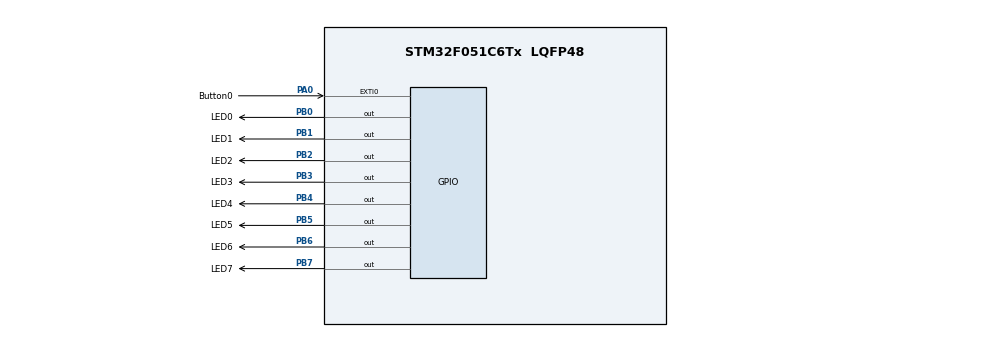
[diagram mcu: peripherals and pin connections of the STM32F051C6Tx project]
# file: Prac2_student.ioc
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Mcu.Family=STM32F0
Mcu.Name=STM32F051C6Tx
Mcu.Package=LQFP48
PA0.GPIO_Label=Button0
PA0.GPIO_PuPd=GPIO_PULLUP
PA0.Signal=GPXTI0
PA13.Mode=Serial_Wire
PA13.Signal=SYS_SWDIO
PA14.Mode=Serial_Wire
PA14.Signal=SYS_SWCLK
PB0.GPIO_Label=LED0
PB0.Signal=GPIO_Output
PB1.GPIO_Label=LED1
PB1.Signal=GPIO_Output
PB2.GPIO_Label=LED2
PB2.Signal=GPIO_Output
PB3.GPIO_Label=LED3
PB3.Signal=GPIO_Output
PB4.GPIO_Label=LED4
PB4.Signal=GPIO_Output
PB5.GPIO_Label=LED5
PB5.Signal=GPIO_Output
PB6.GPIO_Label=LED6
PB6.Signal=GPIO_Output
PB7.GPIO_Label=LED7
PB7.Signal=GPIO_Output
PF0-OSC_IN.Mode=HSE-External-Oscillator
PF0-OSC_IN.Signal=RCC_OSC_IN
PF1-OSC_OUT.Mode=HSE-External-Oscillator
PF1-OSC_OUT.Signal=RCC_OSC_OUT
ProjectManager.HeapSize=0x200
ProjectManager.StackSize=0x400
ProjectManager.TargetToolchain=STM32CubeIDE
TIM16.AutoReloadPreload=TIM_AUTORELOAD_PRELOAD_ENABLE
TIM16.Period=1000-1
TIM16.Prescaler=8000-1
VP_TIM16_VS_ClockSourceINT.Mode=Enable_Timer
board=custom

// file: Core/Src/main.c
/* USER CODE BEGIN Header */
/**
  ******************************************************************************
  * @file           : main.c
  * @brief          : Main program body
  ******************************************************************************
  * @attention
  *
  * Copyright (c) 2023 STMicroelectronics.
  * All rights reserved.
  *
  * This software is licensed under terms that can be found in the LICENSE file
  * in the root directory of this software component.
  * If no LICENSE file comes with this software, it is provided AS-IS.
  *
  ******************************************************************************
  */
/* USER CODE END Header */
#include "main.h"

/* USER CODE BEGIN Includes */
#include <stdint.h>
#include "stm32f0xx.h"
/* USER CODE END Includes */

/* USER CODE BEGIN PD */

// Definitions for SPI usage
#define MEM_SIZE 8192 // bytes
#define WREN 0b00000110 // enable writing
#define WRDI 0b00000100 // disable writing
#define RDSR 0b00000101 // read status register
#define WRSR 0b00000001 // write status register
#define READ 0b00000011
#define WRITE 0b00000010
/* USER CODE END PD */

TIM_HandleTypeDef htim16;

/* USER CODE BEGIN PV */
// TODO: Define any input variables
static uint8_t patterns[] = {
		0b10101010,
		0b01010101,
		0b11001100,
		0b00110011,
		0b11110000,
		0b00001111
};
static uint8_t current_index = 0;
static uint8_t change = 1;
static uint8_t lastButtonState = 1;

/* USER CODE END PV */

void SystemClock_Config(void);
static void MX_GPIO_Init(void);
static void MX_TIM16_Init(void);
/* USER CODE BEGIN PFP */
void EXTI0_1_IRQHandler(void);
void TIM16_IRQHandler(void);
static void init_spi(void);
static void write_to_address(uint16_t address, uint8_t data);
static uint8_t read_from_address(uint16_t address);
static void delay(uint32_t delay_in_us);
/* USER CODE END PFP */

int main(void)
{

  /* MCU Configuration--------------------------------------------------------*/

  /* Reset of all peripherals, Initializes the Flash interface and the Systick. */
  HAL_Init();

  /* Configure the system clock */
  SystemClock_Config();

  /* USER CODE BEGIN SysInit */
  init_spi();
  /* USER CODE END SysInit */

  /* Initialize all configured peripherals */
  MX_GPIO_Init();
  MX_TIM16_Init();
  /* USER CODE BEGIN 2 */

  // TODO: Start timer TIM16
  HAL_TIM_Base_Start_IT(&htim16);

  // TODO: Write all "patterns" to EEPROM using SPI
  for (uint8_t i = 0; i < sizeof(patterns)/sizeof(uint8_t); i++) {
      write_to_address(i, patterns[i]);  // Assuming write_to_address takes an address and a byte to write
  }

  /* USER CODE END 2 */

  /* Infinite loop */
  /* USER CODE BEGIN WHILE */
 while (1)
  {
      uint8_t currentButtonState = HAL_GPIO_ReadPin(GPIOA, GPIO_PIN_0);

      if (lastButtonState == GPIO_PIN_SET && currentButtonState == GPIO_PIN_RESET) {
          // Button was just pressed
          if (change == 0) {
              __HAL_TIM_SET_AUTORELOAD(&htim16, 1000);
              change = 1;
          } else if (change == 1) {
              __HAL_TIM_SET_AUTORELOAD(&htim16, 500);
              change = 0;
          }
          // Debounce delay to avoid multiple presses
          HAL_Delay(100);
      }

      if (change == 0) {
          __HAL_TIM_SET_AUTORELOAD(&htim16, 500);
      } else if (change == 1) {
          __HAL_TIM_SET_AUTORELOAD(&htim16, 1000);
      }

      lastButtonState = currentButtonState;
  }
  /* USER CODE END 3 */
}

void SystemClock_Config(void)
{
  LL_FLASH_SetLatency(LL_FLASH_LATENCY_0);
  while(LL_FLASH_GetLatency() != LL_FLASH_LATENCY_0)
  {
  }
  LL_RCC_HSI_Enable();

   /* Wait till HSI is ready */
  while(LL_RCC_HSI_IsReady() != 1)
  {

  }
  LL_RCC_HSI_SetCalibTrimming(16);
  LL_RCC_SetAHBPrescaler(LL_RCC_SYSCLK_DIV_1);
  LL_RCC_SetAPB1Prescaler(LL_RCC_APB1_DIV_1);
  LL_RCC_SetSysClkSource(LL_RCC_SYS_CLKSOURCE_HSI);

   /* Wait till System clock is ready */
  while(LL_RCC_GetSysClkSource() != LL_RCC_SYS_CLKSOURCE_STATUS_HSI)
  {

  }
  LL_SetSystemCoreClock(8000000);

   /* Update the time base */
  if (HAL_InitTick (TICK_INT_PRIORITY) != HAL_OK)
  {
    Error_Handler();
  }
}

static void MX_TIM16_Init(void)
{

  htim16.Instance = TIM16;
  htim16.Init.Prescaler = 8000-1;
  htim16.Init.CounterMode = TIM_COUNTERMODE_UP;
  htim16.Init.Period = 1000-1;
  htim16.Init.ClockDivision = TIM_CLOCKDIVISION_DIV1;
  htim16.Init.RepetitionCounter = 0;
  htim16.Init.AutoReloadPreload = TIM_AUTORELOAD_PRELOAD_ENABLE;
  if (HAL_TIM_Base_Init(&htim16) != HAL_OK)
  {
    Error_Handler();
  }
  /* USER CODE BEGIN TIM16_Init 2 */
  NVIC_EnableIRQ(TIM16_IRQn);
  /* USER CODE END TIM16_Init 2 */

}

static void MX_GPIO_Init(void)
{
  LL_EXTI_InitTypeDef EXTI_InitStruct = {0};
  LL_GPIO_InitTypeDef GPIO_InitStruct = {0};

  /* GPIO Ports Clock Enable */
  LL_AHB1_GRP1_EnableClock(LL_AHB1_GRP1_PERIPH_GPIOF);
  LL_AHB1_GRP1_EnableClock(LL_AHB1_GRP1_PERIPH_GPIOA);
  LL_AHB1_GRP1_EnableClock(LL_AHB1_GRP1_PERIPH_GPIOB);

  /**/
  LL_GPIO_ResetOutputPin(LED0_GPIO_Port, LED0_Pin);

  /**/
  LL_GPIO_ResetOutputPin(LED1_GPIO_Port, LED1_Pin);

  /**/
  LL_GPIO_ResetOutputPin(LED2_GPIO_Port, LED2_Pin);

  /**/
  LL_GPIO_ResetOutputPin(LED3_GPIO_Port, LED3_Pin);

  /**/
  LL_GPIO_ResetOutputPin(LED4_GPIO_Port, LED4_Pin);

  /**/
  LL_GPIO_ResetOutputPin(LED5_GPIO_Port, LED5_Pin);

  /**/
  LL_GPIO_ResetOutputPin(LED6_GPIO_Port, LED6_Pin);

  /**/
  LL_GPIO_ResetOutputPin(LED7_GPIO_Port, LED7_Pin);

  /**/
  LL_SYSCFG_SetEXTISource(LL_SYSCFG_EXTI_PORTA, LL_SYSCFG_EXTI_LINE0);

  /**/
  LL_GPIO_SetPinPull(Button0_GPIO_Port, Button0_Pin, LL_GPIO_PULL_UP);

  /**/
  LL_GPIO_SetPinMode(Button0_GPIO_Port, Button0_Pin, LL_GPIO_MODE_INPUT);

  /**/
  EXTI_InitStruct.Line_0_31 = LL_EXTI_LINE_0;
  EXTI_InitStruct.LineCommand = ENABLE;
  EXTI_InitStruct.Mode = LL_EXTI_MODE_IT;
  EXTI_InitStruct.Trigger = LL_EXTI_TRIGGER_RISING;
  LL_EXTI_Init(&EXTI_InitStruct);

  /**/
  GPIO_InitStruct.Pin = LED0_Pin;
  GPIO_InitStruct.Mode = LL_GPIO_MODE_OUTPUT;
  GPIO_InitStruct.Speed = LL_GPIO_SPEED_FREQ_LOW;
  GPIO_InitStruct.OutputType = LL_GPIO_OUTPUT_PUSHPULL;
  GPIO_InitStruct.Pull = LL_GPIO_PULL_NO;
  LL_GPIO_Init(LED0_GPIO_Port, &GPIO_InitStruct);

  /**/
  GPIO_InitStruct.Pin = LED1_Pin;
  GPIO_InitStruct.Mode = LL_GPIO_MODE_OUTPUT;
  GPIO_InitStruct.Speed = LL_GPIO_SPEED_FREQ_LOW;
  GPIO_InitStruct.OutputType = LL_GPIO_OUTPUT_PUSHPULL;
  GPIO_InitStruct.Pull = LL_GPIO_PULL_NO;
  LL_GPIO_Init(LED1_GPIO_Port, &GPIO_InitStruct);

  /**/
  GPIO_InitStruct.Pin = LED2_Pin;
  GPIO_InitStruct.Mode = LL_GPIO_MODE_OUTPUT;
  GPIO_InitStruct.Speed = LL_GPIO_SPEED_FREQ_LOW;
  GPIO_InitStruct.OutputType = LL_GPIO_OUTPUT_PUSHPULL;
  GPIO_InitStruct.Pull = LL_GPIO_PULL_NO;
  LL_GPIO_Init(LED2_GPIO_Port, &GPIO_InitStruct);

  /**/
  GPIO_InitStruct.Pin = LED3_Pin;
  GPIO_InitStruct.Mode = LL_GPIO_MODE_OUTPUT;
  GPIO_InitStruct.Speed = LL_GPIO_SPEED_FREQ_LOW;
  GPIO_InitStruct.OutputType = LL_GPIO_OUTPUT_PUSHPULL;
  GPIO_InitStruct.Pull = LL_GPIO_PULL_NO;
  LL_GPIO_Init(LED3_GPIO_Port, &GPIO_InitStruct);

  /**/
  GPIO_InitStruct.Pin = LED4_Pin;
  GPIO_InitStruct.Mode = LL_GPIO_MODE_OUTPUT;
  GPIO_InitStruct.Speed = LL_GPIO_SPEED_FREQ_LOW;
  GPIO_InitStruct.OutputType = LL_GPIO_OUTPUT_PUSHPULL;
  GPIO_InitStruct.Pull = LL_GPIO_PULL_NO;
  LL_GPIO_Init(LED4_GPIO_Port, &GPIO_InitStruct);

  /**/
  GPIO_InitStruct.Pin = LED5_Pin;
  GPIO_InitStruct.Mode = LL_GPIO_MODE_OUTPUT;
  GPIO_InitStruct.Speed = LL_GPIO_SPEED_FREQ_LOW;
  GPIO_InitStruct.OutputType = LL_GPIO_OUTPUT_PUSHPULL;
  GPIO_InitStruct.Pull = LL_GPIO_PULL_NO;
  LL_GPIO_Init(LED5_GPIO_Port, &GPIO_InitStruct);

  /**/
  GPIO_InitStruct.Pin = LED6_Pin;
  GPIO_InitStruct.Mode = LL_GPIO_MODE_OUTPUT;
  GPIO_InitStruct.Speed = LL_GPIO_SPEED_FREQ_LOW;
  GPIO_InitStruct.OutputType = LL_GPIO_OUTPUT_PUSHPULL;
  GPIO_InitStruct.Pull = LL_GPIO_PULL_NO;
  LL_GPIO_Init(LED6_GPIO_Port, &GPIO_InitStruct);

  /**/
  GPIO_InitStruct.Pin = LED7_Pin;
  GPIO_InitStruct.Mode = LL_GPIO_MODE_OUTPUT;
  GPIO_InitStruct.Speed = LL_GPIO_SPEED_FREQ_LOW;
  GPIO_InitStruct.OutputType = LL_GPIO_OUTPUT_PUSHPULL;
  GPIO_InitStruct.Pull = LL_GPIO_PULL_NO;
  LL_GPIO_Init(LED7_GPIO_Port, &GPIO_InitStruct);

}

/* USER CODE BEGIN 4 */

// Initialise SPI
static void init_spi(void) {

  // Clock to PB
  RCC->AHBENR |= RCC_AHBENR_GPIOBEN; 	// Enable clock for SPI port

  // Set pin modes
  GPIOB->MODER |= GPIO_MODER_MODER13_1; // Set pin SCK (PB13) to Alternate Function
  GPIOB->MODER |= GPIO_MODER_MODER14_1; // Set pin MISO (PB14) to Alternate Function
  GPIOB->MODER |= GPIO_MODER_MODER15_1; // Set pin MOSI (PB15) to Alternate Function
  GPIOB->MODER |= GPIO_MODER_MODER12_0; // Set pin CS (PB12) to output push-pull
  GPIOB->BSRR |= GPIO_BSRR_BS_12; 		// Pull CS high

  // Clock enable to SPI
  RCC->APB1ENR |= RCC_APB1ENR_SPI2EN;
  SPI2->CR1 |= SPI_CR1_BIDIOE; 									// Enable output
  SPI2->CR1 |= (SPI_CR1_BR_0 |  SPI_CR1_BR_1); 					// Set Baud to fpclk / 16
  SPI2->CR1 |= SPI_CR1_MSTR; 									// Set to master mode
  SPI2->CR2 |= SPI_CR2_FRXTH; 									// Set RX threshold to be 8 bits
  SPI2->CR2 |= SPI_CR2_SSOE; 									// Enable slave output to work in master mode
  SPI2->CR2 |= (SPI_CR2_DS_0 | SPI_CR2_DS_1 | SPI_CR2_DS_2); 	// Set to 8-bit mode
  SPI2->CR1 |= SPI_CR1_SPE; 									// Enable the SPI peripheral
}

// Implements a delay in microseconds
static void delay(uint32_t delay_in_us) {
  volatile uint32_t counter = 0;
  delay_in_us *= 3;
  for(; counter < delay_in_us; counter++) {
    __asm("nop");
    __asm("nop");
  }
}

// Write to EEPROM address using SPI
static void write_to_address(uint16_t address, uint8_t data) {

	uint8_t dummy; // Junk from the DR

	// Set the Write Enable latch
	GPIOB->BSRR |= GPIO_BSRR_BR_12; // Pull CS low
	delay(1);
	*((uint8_t*)(&SPI2->DR)) = WREN;
	while ((SPI2->SR & SPI_SR_RXNE) == 0); // Hang while RX is empty
	dummy = SPI2->DR;
	GPIOB->BSRR |= GPIO_BSRR_BS_12; // Pull CS high
	delay(5000);

	// Send write instruction
	GPIOB->BSRR |= GPIO_BSRR_BR_12; 			// Pull CS low
	delay(1);
	*((uint8_t*)(&SPI2->DR)) = WRITE;
	while ((SPI2->SR & SPI_SR_RXNE) == 0); 		// Hang while RX is empty
	dummy = SPI2->DR;

	// Send 16-bit address
	*((uint8_t*)(&SPI2->DR)) = (address >> 8); 	// Address MSB
	while ((SPI2->SR & SPI_SR_RXNE) == 0); 		// Hang while RX is empty
	dummy = SPI2->DR;
	*((uint8_t*)(&SPI2->DR)) = (address); 		// Address LSB
	while ((SPI2->SR & SPI_SR_RXNE) == 0); 		// Hang while RX is empty
	dummy = SPI2->DR;

	// Send the data
	*((uint8_t*)(&SPI2->DR)) = data;
	while ((SPI2->SR & SPI_SR_RXNE) == 0); // Hang while RX is empty
	dummy = SPI2->DR;
	GPIOB->BSRR |= GPIO_BSRR_BS_12; // Pull CS high
	delay(5000);
}

// Read from EEPROM address using SPI
static uint8_t read_from_address(uint16_t address) {

	uint8_t dummy; // Junk from the DR

	// Send the read instruction
	GPIOB->BSRR |= GPIO_BSRR_BR_12; 			// Pull CS low
	delay(1);
	*((uint8_t*)(&SPI2->DR)) = READ;
	while ((SPI2->SR & SPI_SR_RXNE) == 0); 		// Hang while RX is empty
	dummy = SPI2->DR;

	// Send 16-bit address
	*((uint8_t*)(&SPI2->DR)) = (address >> 8); 	// Address MSB
	while ((SPI2->SR & SPI_SR_RXNE) == 0);		// Hang while RX is empty
	dummy = SPI2->DR;
	*((uint8_t*)(&SPI2->DR)) = (address); 		// Address LSB
	while ((SPI2->SR & SPI_SR_RXNE) == 0); 		// Hang while RX is empty
	dummy = SPI2->DR;

	// Clock in the data
	*((uint8_t*)(&SPI2->DR)) = 0x42; 			    // Clock out some junk data
	while ((SPI2->SR & SPI_SR_RXNE) == 0); 		// Hang while RX is empty
	dummy = SPI2->DR;
	GPIOB->BSRR |= GPIO_BSRR_BS_12; 			    // Pull CS high
	delay(5000);

	return dummy;								              // Return read data
}

// Timer rolled over
void TIM16_IRQHandler(void)
{
	// Acknowledge interrupt
	HAL_TIM_IRQHandler(&htim16);

	// TODO: Change to next LED pattern; output 0x01 if the read SPI data is incorrect
	uint8_t read_value = read_from_address(current_index);
	current_index = (current_index + 1) % sizeof(patterns)/sizeof(uint8_t);  // Cycle to the next index
	if (read_value == patterns[current_index]) {
		GPIOB->ODR = 0b00000001;
	}
	else{
		GPIOB->ODR = patterns[current_index];
	}
}

/* USER CODE END 4 */

void Error_Handler(void)
{
  __disable_irq();
  while (1)
  {
  }
}
